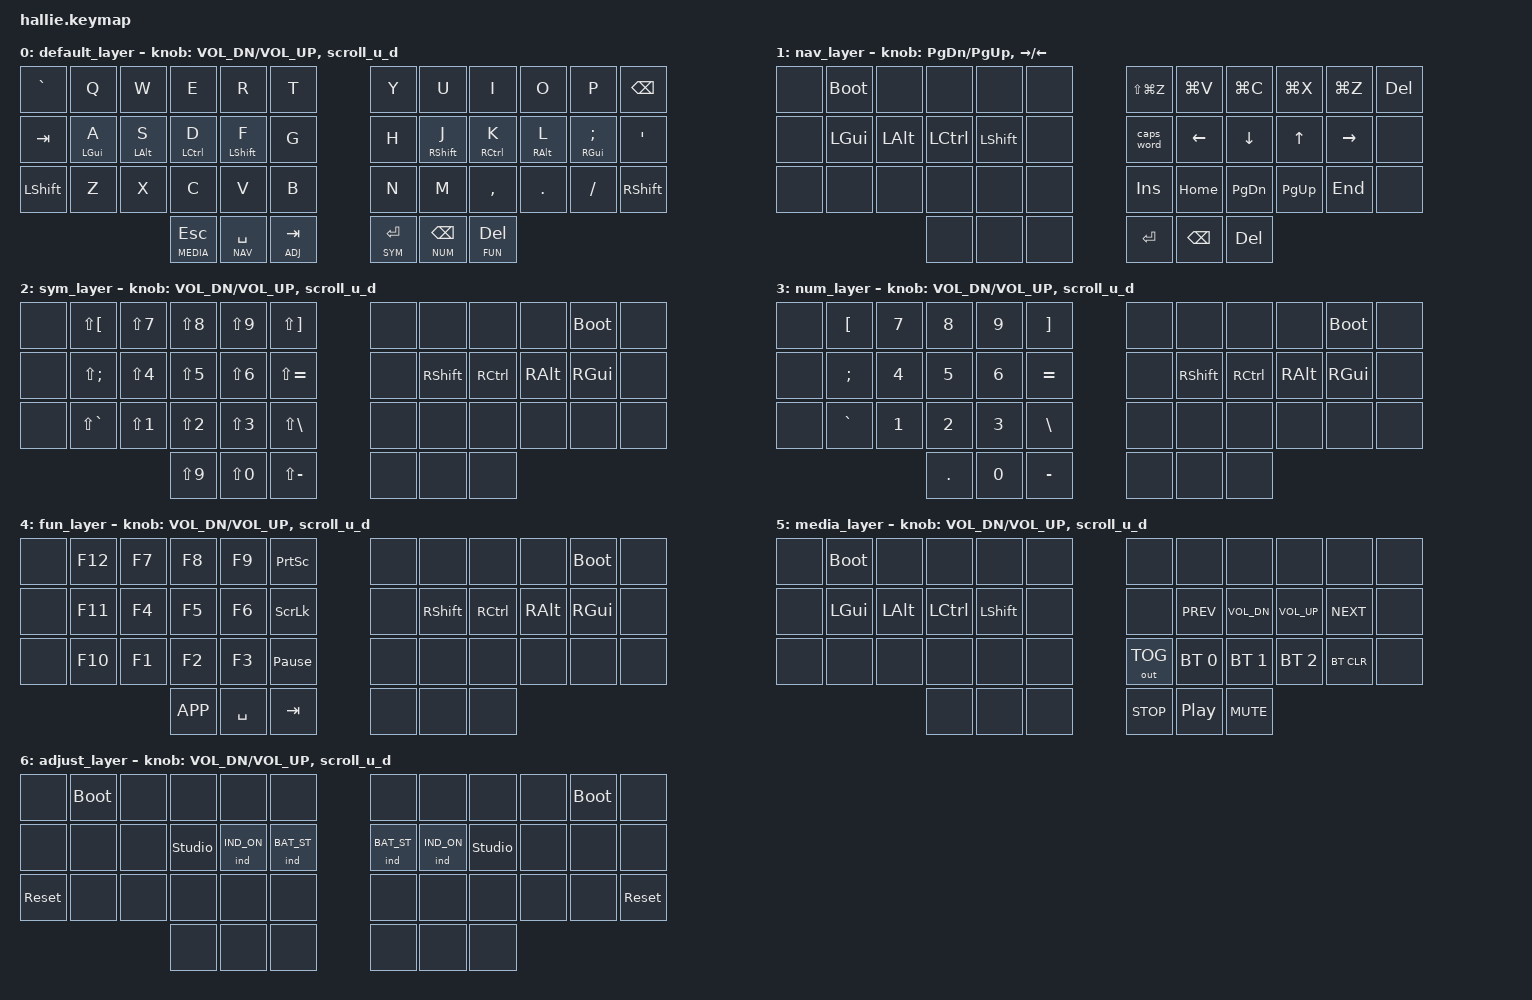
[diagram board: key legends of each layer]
#undef ZMK_BEHAVIORS_KEEP_ALL

#define ZMK_BEHAVIORS_KEEP_IND
#define ZMK_BEHAVIORS_KEEP_BT
#define ZMK_BEHAVIORS_KEEP_SYS_RESET
#define ZMK_BEHAVIORS_KEEP_BOOTLOADER
#define ZMK_BEHAVIORS_KEEP_CAPS_WORD
#define ZMK_BEHAVIORS_KEEP_LT
#define ZMK_BEHAVIORS_KEEP_MT
#define ZMK_BEHAVIORS_KEEP_TRANS

#include <behaviors/indicators.dtsi>
#include <dt-bindings/zmk/indicators.h>
#include <behaviors.dtsi>
#include <dt-bindings/zmk/bt.h>
#include <dt-bindings/zmk/keys.h>
#include <dt-bindings/zmk/outputs.h>

#define DEF 0
#define NAV 1
#define SYM 2
#define NUM 3
#define FUN 4
#define MEDIA 5
#define ADJ 6

&lt { quick_tap_ms = <200>; };

&mt {
    quick_tap_ms = <175>;
    tapping-term-ms = <250>;
    flavor = "balanced";
    require-prior-idle-ms = <125>;
};

/ {
    keymap {
        compatible = "zmk,keymap";

        default_layer {
            bindings = <
&kp GRAVE   &kp Q       &kp W       &kp E        &kp R        &kp T          &kp Y        &kp U        &kp I        &kp O       &kp P          &kp BSPC
&kp TAB     &mt LGUI A  &mt LALT S  &mt LCTRL D  &mt LSHFT F  &kp G          &kp H        &mt RSHFT J  &mt RCTRL K  &mt RALT L  &mt RGUI SEMI  &kp SQT
&kp LSHFT   &kp Z       &kp X       &kp C        &kp V        &kp B          &kp N        &kp M        &kp COMMA    &kp DOT     &kp SLASH      &kp RSHFT
                                     &lt MEDIA ESC &lt NAV SPACE &lt ADJ TAB   &lt SYM RET  &lt NUM BSPC &lt FUN DEL
            >;

            sensor-bindings = <&inc_dec_kp C_VOL_DN C_VOL_UP &scroll_u_d>;
        };

        nav_layer {
            bindings = <
&none       &bootloader &none       &none        &none        &none          &kp LS(LG(Z)) &kp LG(V)   &kp LG(C)    &kp LG(X)   &kp LG(Z)     &kp DEL
&none       &kp LGUI    &kp LALT    &kp LCTRL    &kp LSHFT    &none          &caps_word     &kp LEFT    &kp DOWN     &kp UP      &kp RIGHT     &none
&none       &none       &none       &none        &none        &none          &kp INS        &kp HOME    &kp PG_DN    &kp PG_UP   &kp END       &none
                                    &none        &none        &none          &kp RET        &kp BSPC    &kp DEL
            >;

            sensor-bindings = <&inc_dec_kp PG_DN PG_UP &inc_dec_kp RIGHT LEFT>;
        };

        sym_layer {
            bindings = <
&none       &kp LS(LBKT) &kp LS(N7)  &kp LS(N8)   &kp LS(N9)   &kp LS(RBKT)   &none          &none        &none        &none       &bootloader   &none
&none       &kp LS(SEMI) &kp LS(N4)  &kp LS(N5)   &kp LS(N6)   &kp LS(EQUAL)  &none          &kp RSHFT    &kp RCTRL    &kp RALT    &kp RGUI      &none
&none       &kp LS(GRAVE) &kp LS(N1) &kp LS(N2)   &kp LS(N3)   &kp LS(BSLH)   &none          &none        &none        &none       &none         &none
                                    &kp LS(N9)   &kp LS(N0)   &kp LS(MINUS)  &none          &none        &none
            >;

            sensor-bindings = <&inc_dec_kp C_VOL_DN C_VOL_UP &scroll_u_d>;
        };

        num_layer {
            bindings = <
&none       &kp LBKT    &kp N7      &kp N8       &kp N9       &kp RBKT       &none          &none        &none        &none       &bootloader   &none
&none       &kp SEMI    &kp N4      &kp N5       &kp N6       &kp EQUAL      &none          &kp RSHFT    &kp RCTRL    &kp RALT    &kp RGUI      &none
&none       &kp GRAVE   &kp N1      &kp N2       &kp N3       &kp BSLH       &none          &none        &none        &none       &none         &none
                                    &kp DOT      &kp N0       &kp MINUS      &none          &none        &none
            >;

            sensor-bindings = <&inc_dec_kp C_VOL_DN C_VOL_UP &scroll_u_d>;
        };

        fun_layer {
            bindings = <
&none       &kp F12     &kp F7      &kp F8       &kp F9       &kp PSCRN      &none          &none        &none        &none       &bootloader   &none
&none       &kp F11     &kp F4      &kp F5       &kp F6       &kp SLCK       &none          &kp RSHFT    &kp RCTRL    &kp RALT    &kp RGUI      &none
&none       &kp F10     &kp F1      &kp F2       &kp F3       &kp PAUSE_BREAK &none         &none        &none        &none       &none         &none
                                    &kp K_APP    &kp SPACE    &kp TAB        &none          &none        &none
            >;

            sensor-bindings = <&inc_dec_kp C_VOL_DN C_VOL_UP &scroll_u_d>;
        };

        media_layer {
            bindings = <
&none       &bootloader &none       &none        &none        &none          &none          &none        &none        &none       &none         &none
&none       &kp LGUI    &kp LALT    &kp LCTRL    &kp LSHFT    &none          &none          &kp C_PREV   &kp C_VOL_DN &kp C_VOL_UP &kp C_NEXT  &none
&none       &none       &none       &none        &none        &none          &out OUT_TOG   &bt BT_SEL 0 &bt BT_SEL 1 &bt BT_SEL 2 &bt BT_CLR  &none
                                    &none        &none        &none          &kp C_STOP     &kp C_PP     &kp C_MUTE
            >;

            sensor-bindings = <&inc_dec_kp C_VOL_DN C_VOL_UP &scroll_u_d>;
        };

        adjust_layer {
            bindings = <
&none         &bootloader   &none         &none           &none        &none           &none        &none        &none    &none  &bootloader  &none
&none         &none         &none         &studio_unlock  &ind IND_ON  &ind BAT_ST     &ind BAT_ST  &ind IND_ON  &studio_unlock &none &none  &none
&sys_reset    &none         &none         &none           &none        &none           &none        &none        &none    &none  &none        &sys_reset
                                          &none           &none        &none           &none        &none        &none
            >;

            sensor-bindings = <&inc_dec_kp C_VOL_DN C_VOL_UP &scroll_u_d>;
        };

        extra1 { status = "reserved"; };

        extra2 { status = "reserved"; };

        extra3 { status = "reserved"; };

        extra4 { status = "reserved"; };
    };
};
